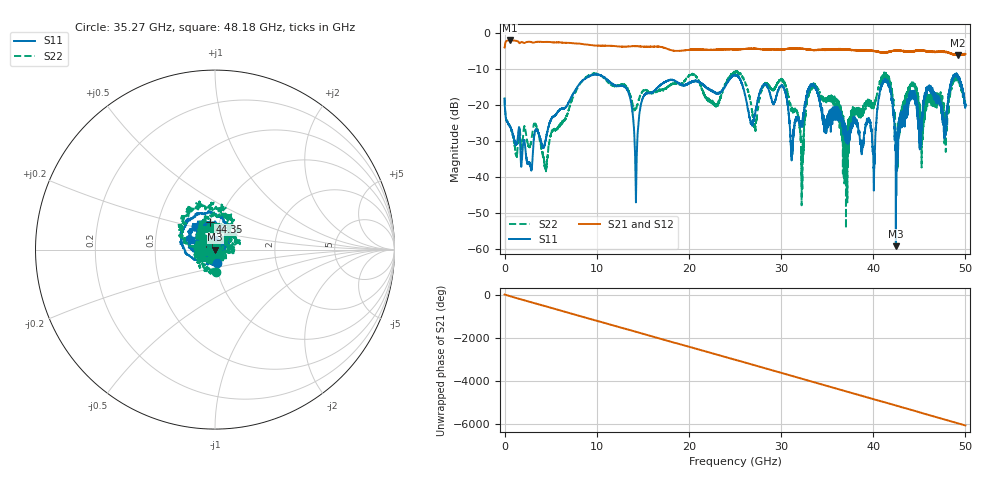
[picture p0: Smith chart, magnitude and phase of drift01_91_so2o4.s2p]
!Created with skrf (http://scikit-rf.org).
# Hz S RI R 50.0
!freq ReS11 ImS11 ReS21 ImS21 ReS12 ImS12 ReS22 ImS22
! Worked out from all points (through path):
!   10001 points, 300 kHz to 50 GHz, reference 50 ohm
!   highest |S21| = -2.00 dB at 580.3 MHz (marker M1); lowest = -6.1 dB at 49.2 GHz (marker M2)
!   group delay of S21, straight-line fit = 336 ps
!   lowest |S11| = -59.3 dB at 42.46 GHz (marker M3), VSWR 1.00, Z = 50.1 + j0.0112 ohm
!   |S11| at or under -10 dB: start of sweep to end of sweep
!   |S22| runs from -54.4 to -10.6 dB; largest |S21 - S12| = 0.022
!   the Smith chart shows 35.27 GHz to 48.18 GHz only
!   S11 on the Smith chart (normalised r, x): 35.27 GHz: 1.01, -0.15; 44.35 GHz: 0.90, +0.29; 48.18 GHz: 0.76, +0.08
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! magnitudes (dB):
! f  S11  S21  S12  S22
! 300 kHz  -18.3  -4.0  -4.1  -17.9
! 580.3 MHz  -26.0  -2.0  -2.0  -26.0
! 4.445 GHz  -29.9  -2.4  -2.4  -37.5
! 8.335 GHz  -13.5  -3.0  -3.0  -13.5
! 13.17 GHz  -15.2  -3.7  -3.7  -14.7
! 14.26 GHz  -46.3  -3.6  -3.6  -21.1
! 16.67 GHz  -14.9  -3.7  -3.7  -15.8
! 25 GHz  -11.6  -4.5  -4.5  -11.0
! 27.15 GHz  -22.5  -4.3  -4.3  -25.9
! 30.2 GHz  -15.0  -4.5  -4.5  -13.2
! 31.15 GHz  -35.4  -4.3  -4.3  -20.9
! 32.25 GHz  -24.9  -4.3  -4.3  -40.9
! 33.34 GHz  -14.3  -4.7  -4.6  -14.6
! 35.27 GHz  -22.5  -4.5  -4.6  -17.9
! 37.03 GHz  -26.5  -4.5  -4.6  -33.9
! 40.07 GHz  -43.9  -4.9  -4.9  -19.9
! 41.67 GHz  -14.2  -5.1  -5.2  -12.9
! 42.46 GHz  -59.3  -4.8  -4.7  -31.9
! 44.35 GHz  -16.0  -4.9  -5.0  -14.0
! 48.18 GHz  -17.0  -5.4  -5.4  -20.5
! 49.2 GHz  -12.4  -6.1  -6.0  -12.6
! 50 GHz  -19.8  -5.8  -5.8  -19.7
